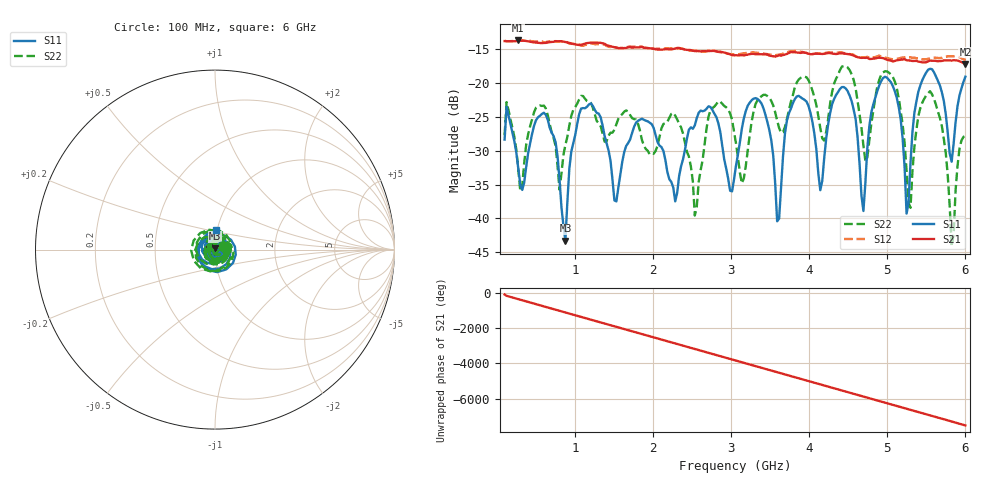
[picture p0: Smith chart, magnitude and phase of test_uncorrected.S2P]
!Created with skrf (http://scikit-rf.org).
# MHz S RI R 50.0
!freq ReS11 ImS11 ReS21 ImS21 ReS12 ImS12 ReS22 ImS22
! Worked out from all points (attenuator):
!   236 points, 100 MHz to 6 GHz, reference 50 ohm
!   highest |S21| = -13.76 dB at 275.7 MHz (marker M1); lowest = -17.2 dB at 6 GHz (marker M2)
!   lowest |S11| = -43.3 dB at 878.3 MHz (marker M3), VSWR 1.01, Z = 49.8 + j0.654 ohm
!   |S11| at or under -10 dB: start of sweep to end of sweep
!   |S22| runs from -44.1 to -17.5 dB; largest |S21 - S12| = 0.18
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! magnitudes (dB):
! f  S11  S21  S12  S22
! 100 MHz  -28.4  -13.9  -13.8  -27.7
! 275.7 MHz  -32.7  -13.8  -13.8  -32.8
! 627.2 MHz  -24.7  -14.1  -14.0  -23.8
! 878.3 MHz  -43.3  -14.0  -14.0  -29.2
! 1.104 GHz  -23.7  -14.3  -14.5  -22.0
! 1.531 GHz  -37.5  -14.8  -14.8  -26.1
! 2.083 GHz  -29.3  -15.1  -15.0  -28.0
! 2.535 GHz  -26.3  -15.3  -15.3  -39.6
! 2.736 GHz  -23.6  -15.3  -15.2  -24.1
! 3.063 GHz  -32.2  -15.9  -15.8  -28.9
! 3.364 GHz  -22.6  -15.8  -15.6  -22.2
! 3.59 GHz  -40.4  -16.1  -15.9  -25.6
! 3.74 GHz  -24.5  -15.6  -15.4  -24.0
! 4.042 GHz  -25.8  -15.8  -15.8  -21.2
! 4.142 GHz  -35.8  -15.7  -15.7  -26.7
! 4.494 GHz  -21.3  -15.8  -15.7  -17.8
! 4.694 GHz  -38.9  -16.3  -16.3  -29.3
! 5.021 GHz  -19.6  -16.7  -16.4  -18.5
! 5.247 GHz  -39.3  -16.7  -16.3  -32.9
! 5.523 GHz  -18.1  -16.8  -16.5  -21.5
! 5.824 GHz  -31.6  -16.7  -16.1  -44.1
! 6 GHz  -19.1  -17.2  -16.7  -27.8
